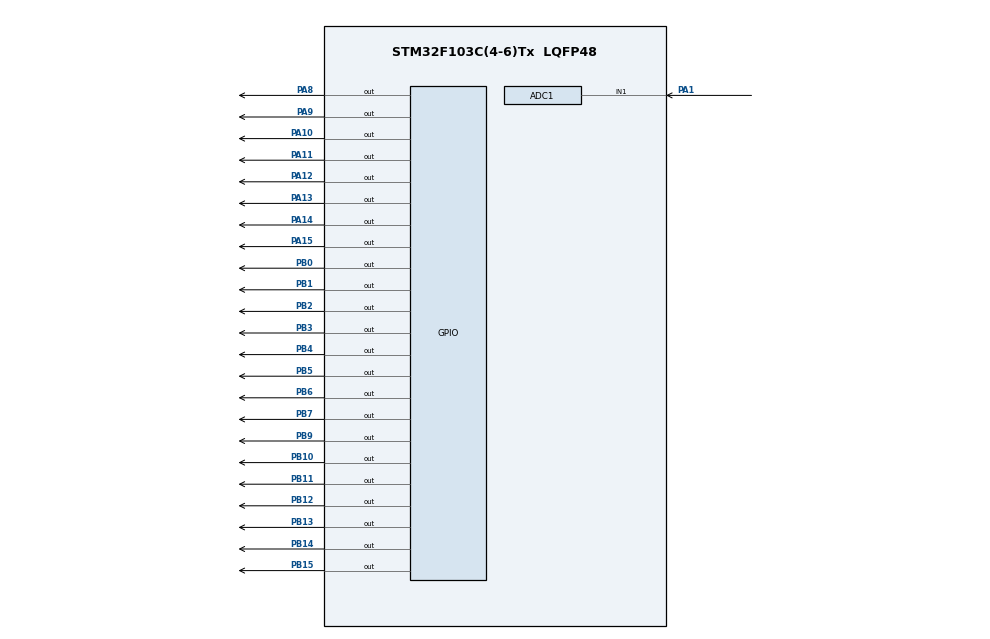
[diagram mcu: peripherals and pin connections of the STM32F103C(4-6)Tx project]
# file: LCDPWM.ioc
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ADC1.Channel-1\#ChannelRegularConversion=ADC_CHANNEL_1
ADC1.NbrOfConversionFlag=1
ADC1.Rank-1\#ChannelRegularConversion=1
ADC1.SamplingTime-1\#ChannelRegularConversion=ADC_SAMPLETIME_1CYCLE_5
ADC1.master=1
Mcu.Family=STM32F1
Mcu.Name=STM32F103C(4-6)Tx
Mcu.Package=LQFP48
NVIC.PriorityGroup=NVIC_PRIORITYGROUP_4
PA1.Signal=ADCx_IN1
PA10.Signal=GPIO_Output
PA11.Signal=GPIO_Output
PA12.Signal=GPIO_Output
PA13.Signal=GPIO_Output
PA14.Signal=GPIO_Output
PA15.Signal=GPIO_Output
PA8.Signal=GPIO_Output
PA9.Signal=GPIO_Output
PB0.Signal=GPIO_Output
PB1.Signal=GPIO_Output
PB10.Signal=GPIO_Output
PB11.Signal=GPIO_Output
PB12.Signal=GPIO_Output
PB13.Signal=GPIO_Output
PB14.Signal=GPIO_Output
PB15.Signal=GPIO_Output
PB2.Signal=GPIO_Output
PB3.Signal=GPIO_Output
PB4.Signal=GPIO_Output
PB5.Signal=GPIO_Output
PB6.Signal=GPIO_Output
PB7.Signal=GPIO_Output
PB9.Signal=GPIO_Output
ProjectManager.HeapSize=0x200
ProjectManager.StackSize=0x400
ProjectManager.TargetToolchain=MDK-ARM V5
RCC.APB1Freq_Value=8000000
RCC.APB2Freq_Value=8000000
SH.ADCx_IN1.0=ADC1_IN1,IN1
TIM1.Period=255
VP_SYS_VS_ND.Mode=No_Debug
VP_TIM1_VS_ClockSourceINT.Mode=Internal
board=custom

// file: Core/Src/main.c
/* USER CODE BEGIN Header */
/**
  ******************************************************************************
  * @file           : main.c
  * @brief          : Main program body
  ******************************************************************************
  * @attention
  *
  * Copyright (c) 2022 STMicroelectronics.
  * All rights reserved.
  *
  * This software is licensed under terms that can be found in the LICENSE file
  * in the root directory of this software component.
  * If no LICENSE file comes with this software, it is provided AS-IS.
  *
  ******************************************************************************
  */
/* USER CODE END Header */
#include "main.h"

/* USER CODE BEGIN Includes */

#include "character_lcd.h"

/* USER CODE END Includes */

ADC_HandleTypeDef hadc1;

TIM_HandleTypeDef htim1;

void SystemClock_Config(void);
static void MX_GPIO_Init(void);
static void MX_ADC1_Init(void);
static void MX_TIM1_Init(void);

int main(void)
{
  /* USER CODE BEGIN 1 */

	unsigned int value_adc;
	unsigned int temp;
	unsigned char thos;
	unsigned char huns;
	unsigned char tens;
	unsigned char ones;
	unsigned int timer = 5;

  /* USER CODE END 1 */

  /* MCU Configuration--------------------------------------------------------*/

  /* Reset of all peripherals, Initializes the Flash interface and the Systick. */
  HAL_Init();

  /* Configure the system clock */
  SystemClock_Config();

  /* Initialize all configured peripherals */
  MX_GPIO_Init();
  MX_ADC1_Init();
  MX_TIM1_Init();
  /* USER CODE BEGIN 2 */
	LCD_Config.Mode = _8BIT_INTERFACE;
	LCD_Config.Font = _FONT_5X10;
	LCD_Config.NumberOfLine = _2LINE_DISPLAY;
	LCD_Init();
  /* USER CODE END 2 */

  /* Infinite loop */
  /* USER CODE BEGIN WHILE */
	HAL_ADCEx_Calibration_Start(&hadc1);
	HAL_GPIO_WritePin(GPIOB, GPIO_PIN_13, GPIO_PIN_SET);
  while (1)
  {
    /* USER CODE END WHILE */

    /* USER CODE BEGIN 3 */
		LCD_SendCommand(_CLEAR_DISPLAY);

		HAL_ADC_Start(&hadc1);
		if (HAL_ADC_PollForConversion(&hadc1, 1000000) == HAL_OK) {

				value_adc = HAL_ADC_GetValue(&hadc1);
				temp = value_adc * 0.121 + 1;
				tens = temp / 10 + '0';
				ones = temp % 10 + '0';
				LCD_PutString("Temperature: ");
				LCD_PutChar(tens);
				LCD_PutChar(ones);

				if (temp / 10 > 2) HAL_GPIO_WritePin(GPIOB, GPIO_PIN_14, GPIO_PIN_SET);
				else HAL_GPIO_WritePin(GPIOB, GPIO_PIN_14, GPIO_PIN_RESET);

				if (temp / 10 < 2) HAL_GPIO_WritePin(GPIOB, GPIO_PIN_15, GPIO_PIN_SET);
				else HAL_GPIO_WritePin(GPIOB, GPIO_PIN_15, GPIO_PIN_RESET);

		}
		HAL_ADC_Stop(&hadc1);
		HAL_GPIO_WritePin(GPIOB, GPIO_PIN_13, GPIO_PIN_RESET);
		HAL_Delay(500);

		HAL_ADC_Start(&hadc1);
		if (HAL_ADC_PollForConversion(&hadc1, 1000000) == HAL_OK) {
				value_adc = 1000 - HAL_ADC_GetValue(&hadc1) % 1000;

				if (value_adc < 500) HAL_GPIO_WritePin(GPIOB, GPIO_PIN_12, GPIO_PIN_SET);
				else if (timer) HAL_GPIO_WritePin(GPIOB, GPIO_PIN_12, GPIO_PIN_RESET);

				LCD_GotoXY(0, 1);
				LCD_PutString("Light Ins: ");
				thos = value_adc / 1000;
				huns = (value_adc / 100) % 10 + '0';
				tens = (value_adc / 10) % 10 + '0';
				ones = value_adc % 10 + '0';
				LCD_PutChar(huns);
				LCD_PutChar(tens);
				LCD_PutChar(ones);
		}
		HAL_ADC_Stop(&hadc1);
		HAL_GPIO_WritePin(GPIOB, GPIO_PIN_13, GPIO_PIN_SET);
		HAL_Delay(500);

		if (timer) {
			timer--;
			tens = timer / 10;
			ones = timer % 10;

			HAL_GPIO_WritePin(GPIOA, GPIO_PIN_8, ones % 2);
			HAL_GPIO_WritePin(GPIOA, GPIO_PIN_9, (ones % 4 - ones % 2) / 2);
			HAL_GPIO_WritePin(GPIOA, GPIO_PIN_10, (ones % 8 - ones % 4) / 4);
			HAL_GPIO_WritePin(GPIOA, GPIO_PIN_11, (ones % 16 - ones % 8) / 8);

			HAL_GPIO_WritePin(GPIOA, GPIO_PIN_12, tens % 2);
			HAL_GPIO_WritePin(GPIOA, GPIO_PIN_13, (tens % 4 - tens % 2) / 2);
			HAL_GPIO_WritePin(GPIOA, GPIO_PIN_14, (tens % 8 - tens % 4) / 4);
			HAL_GPIO_WritePin(GPIOA, GPIO_PIN_15, (tens % 16 - tens % 8) / 8);
		}
		if (!timer) {
			HAL_GPIO_WritePin(GPIOB, GPIO_PIN_12, GPIO_PIN_SET);
		}
  }
  /* USER CODE END 3 */
}

void SystemClock_Config(void)
{
  RCC_OscInitTypeDef RCC_OscInitStruct = {0};
  RCC_ClkInitTypeDef RCC_ClkInitStruct = {0};
  RCC_PeriphCLKInitTypeDef PeriphClkInit = {0};

  /** Initializes the RCC Oscillators according to the specified parameters
  * in the RCC_OscInitTypeDef structure.
  */
  RCC_OscInitStruct.OscillatorType = RCC_OSCILLATORTYPE_HSI;
  RCC_OscInitStruct.HSIState = RCC_HSI_ON;
  RCC_OscInitStruct.HSICalibrationValue = RCC_HSICALIBRATION_DEFAULT;
  RCC_OscInitStruct.PLL.PLLState = RCC_PLL_NONE;
  if (HAL_RCC_OscConfig(&RCC_OscInitStruct) != HAL_OK)
  {
    Error_Handler();
  }

  /** Initializes the CPU, AHB and APB buses clocks
  */
  RCC_ClkInitStruct.ClockType = RCC_CLOCKTYPE_HCLK|RCC_CLOCKTYPE_SYSCLK
                              |RCC_CLOCKTYPE_PCLK1|RCC_CLOCKTYPE_PCLK2;
  RCC_ClkInitStruct.SYSCLKSource = RCC_SYSCLKSOURCE_HSI;
  RCC_ClkInitStruct.AHBCLKDivider = RCC_SYSCLK_DIV1;
  RCC_ClkInitStruct.APB1CLKDivider = RCC_HCLK_DIV1;
  RCC_ClkInitStruct.APB2CLKDivider = RCC_HCLK_DIV1;

  if (HAL_RCC_ClockConfig(&RCC_ClkInitStruct, FLASH_LATENCY_0) != HAL_OK)
  {
    Error_Handler();
  }
  PeriphClkInit.PeriphClockSelection = RCC_PERIPHCLK_ADC;
  PeriphClkInit.AdcClockSelection = RCC_ADCPCLK2_DIV2;
  if (HAL_RCCEx_PeriphCLKConfig(&PeriphClkInit) != HAL_OK)
  {
    Error_Handler();
  }
}

static void MX_ADC1_Init(void)
{

  ADC_ChannelConfTypeDef sConfig = {0};

  /** Common config
  */
  hadc1.Instance = ADC1;
  hadc1.Init.ScanConvMode = ADC_SCAN_DISABLE;
  hadc1.Init.ContinuousConvMode = DISABLE;
  hadc1.Init.DiscontinuousConvMode = DISABLE;
  hadc1.Init.ExternalTrigConv = ADC_SOFTWARE_START;
  hadc1.Init.DataAlign = ADC_DATAALIGN_RIGHT;
  hadc1.Init.NbrOfConversion = 1;
  if (HAL_ADC_Init(&hadc1) != HAL_OK)
  {
    Error_Handler();
  }

  /** Configure Regular Channel
  */
  sConfig.Channel = ADC_CHANNEL_1;
  sConfig.Rank = ADC_REGULAR_RANK_1;
  sConfig.SamplingTime = ADC_SAMPLETIME_1CYCLE_5;
  if (HAL_ADC_ConfigChannel(&hadc1, &sConfig) != HAL_OK)
  {
    Error_Handler();
  }

}

static void MX_TIM1_Init(void)
{

  TIM_ClockConfigTypeDef sClockSourceConfig = {0};
  TIM_MasterConfigTypeDef sMasterConfig = {0};

  htim1.Instance = TIM1;
  htim1.Init.Prescaler = 0;
  htim1.Init.CounterMode = TIM_COUNTERMODE_UP;
  htim1.Init.Period = 255;
  htim1.Init.ClockDivision = TIM_CLOCKDIVISION_DIV1;
  htim1.Init.RepetitionCounter = 0;
  htim1.Init.AutoReloadPreload = TIM_AUTORELOAD_PRELOAD_DISABLE;
  if (HAL_TIM_Base_Init(&htim1) != HAL_OK)
  {
    Error_Handler();
  }
  sClockSourceConfig.ClockSource = TIM_CLOCKSOURCE_INTERNAL;
  if (HAL_TIM_ConfigClockSource(&htim1, &sClockSourceConfig) != HAL_OK)
  {
    Error_Handler();
  }
  sMasterConfig.MasterOutputTrigger = TIM_TRGO_RESET;
  sMasterConfig.MasterSlaveMode = TIM_MASTERSLAVEMODE_DISABLE;
  if (HAL_TIMEx_MasterConfigSynchronization(&htim1, &sMasterConfig) != HAL_OK)
  {
    Error_Handler();
  }

}

static void MX_GPIO_Init(void)
{
  GPIO_InitTypeDef GPIO_InitStruct = {0};

  /* GPIO Ports Clock Enable */
  __HAL_RCC_GPIOA_CLK_ENABLE();
  __HAL_RCC_GPIOB_CLK_ENABLE();

  /*Configure GPIO pin Output Level */
  HAL_GPIO_WritePin(GPIOB, GPIO_PIN_0|GPIO_PIN_1|GPIO_PIN_2|GPIO_PIN_10
                          |GPIO_PIN_11|GPIO_PIN_12|GPIO_PIN_13|GPIO_PIN_14
                          |GPIO_PIN_15|GPIO_PIN_3|GPIO_PIN_4|GPIO_PIN_5
                          |GPIO_PIN_6|GPIO_PIN_7|GPIO_PIN_9, GPIO_PIN_RESET);

  /*Configure GPIO pin Output Level */
  HAL_GPIO_WritePin(GPIOA, GPIO_PIN_8|GPIO_PIN_9|GPIO_PIN_10|GPIO_PIN_11
                          |GPIO_PIN_12|GPIO_PIN_13|GPIO_PIN_14|GPIO_PIN_15, GPIO_PIN_RESET);

  /*Configure GPIO pins : PB0 PB1 PB2 PB10
                           PB11 PB12 PB13 PB14
                           PB15 PB3 PB4 PB5
                           PB6 PB7 PB9 */
  GPIO_InitStruct.Pin = GPIO_PIN_0|GPIO_PIN_1|GPIO_PIN_2|GPIO_PIN_10
                          |GPIO_PIN_11|GPIO_PIN_12|GPIO_PIN_13|GPIO_PIN_14
                          |GPIO_PIN_15|GPIO_PIN_3|GPIO_PIN_4|GPIO_PIN_5
                          |GPIO_PIN_6|GPIO_PIN_7|GPIO_PIN_9;
  GPIO_InitStruct.Mode = GPIO_MODE_OUTPUT_PP;
  GPIO_InitStruct.Pull = GPIO_NOPULL;
  GPIO_InitStruct.Speed = GPIO_SPEED_FREQ_LOW;
  HAL_GPIO_Init(GPIOB, &GPIO_InitStruct);

  /*Configure GPIO pins : PA8 PA9 PA10 PA11
                           PA12 PA13 PA14 PA15 */
  GPIO_InitStruct.Pin = GPIO_PIN_8|GPIO_PIN_9|GPIO_PIN_10|GPIO_PIN_11
                          |GPIO_PIN_12|GPIO_PIN_13|GPIO_PIN_14|GPIO_PIN_15;
  GPIO_InitStruct.Mode = GPIO_MODE_OUTPUT_PP;
  GPIO_InitStruct.Pull = GPIO_NOPULL;
  GPIO_InitStruct.Speed = GPIO_SPEED_FREQ_LOW;
  HAL_GPIO_Init(GPIOA, &GPIO_InitStruct);

}

void Error_Handler(void)
{
  __disable_irq();
  while (1)
  {
  }
}
